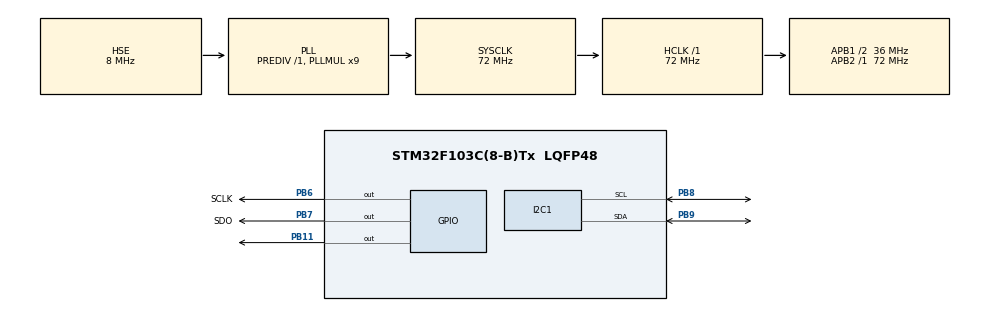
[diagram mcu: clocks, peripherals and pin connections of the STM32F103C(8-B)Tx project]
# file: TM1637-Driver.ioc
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Mcu.Family=STM32F1
Mcu.Name=STM32F103C(8-B)Tx
Mcu.Package=LQFP48
NVIC.PriorityGroup=NVIC_PRIORITYGROUP_4
PA13.Mode=Serial_Wire
PA13.Signal=SYS_JTMS-SWDIO
PA14.Mode=Serial_Wire
PA14.Signal=SYS_JTCK-SWCLK
PB11.Signal=GPIO_Output
PB6.GPIO_Label=SCLK
PB6.Signal=GPIO_Output
PB7.GPIO_Label=SDO
PB7.Signal=GPIO_Output
PB8.Mode=I2C
PB8.Signal=I2C1_SCL
PB9.Mode=I2C
PB9.Signal=I2C1_SDA
PD0-OSC_IN.Mode=HSE-External-Oscillator
PD0-OSC_IN.Signal=RCC_OSC_IN
PD1-OSC_OUT.Mode=HSE-External-Oscillator
PD1-OSC_OUT.Signal=RCC_OSC_OUT
ProjectManager.HeapSize=0x200
ProjectManager.StackSize=0x400
ProjectManager.TargetToolchain=STM32CubeIDE
RCC.AHBFreq_Value=72000000
RCC.APB1CLKDivider=RCC_HCLK_DIV2
RCC.APB1Freq_Value=36000000
RCC.APB1TimFreq_Value=72000000
RCC.APB2Freq_Value=72000000
RCC.APB2TimFreq_Value=72000000
RCC.HCLKFreq_Value=72000000
RCC.PLLMUL=RCC_PLL_MUL9
RCC.PLLSourceVirtual=RCC_PLLSOURCE_HSE
RCC.SYSCLKFreq_VALUE=72000000
RCC.SYSCLKSource=RCC_SYSCLKSOURCE_PLLCLK
RCC.USBFreq_Value=72000000
board=custom

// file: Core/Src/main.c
/* USER CODE BEGIN Header */
/**
  *****************************************************************************
  * @file           : main.c
  * @brief          : Main program body
  ******************************************************************************
  * @attention
  *
  * <h2><center>&copy; Copyright (c) 2020 STMicroelectronics.
  * All rights reserved.</center></h2>
  *
  * This software component is licensed by ST under BSD 3-Clause license,
  * the "License"; You may not use this file except in compliance with the
  * License. You may obtain a copy of the License at:
  *                        opensource.org/licenses/BSD-3-Clause
  *
  ******************************************************************************
  */
/* USER CODE END Header */
#include "main.h"

/* USER CODE BEGIN Includes */
#include "tm1637.h"

#include "macro_types.h"
#include "stm32f1xx_hal.h"
#include "stm32f1_uart.h"
#include "stm32f1_sys.h"
#include "stm32f1_gpio.h"
#include "systick.h"
#include "stm32f1_timer.h"

#include "config.h"
/* USER CODE END Includes */

/* USER CODE BEGIN PTD */
////////////////////////////////////a mettre dans le config.h quand librairies OK

////////////////////////////////////fin a mettre

/* USER CODE END PTD */

I2C_HandleTypeDef hi2c1;

void SystemClock_Config(void);
static void MX_GPIO_Init(void);
static void MX_I2C1_Init(void);

/* USER CODE BEGIN 0 */
uint8_t	Timer1Enable = ENABLE;
uint32_t Timer1  = 0;
uint8_t CurrentDisplay[4] = {0};
uint8_t tm1637_Segments[8] = {0};
/* USER CODE END 0 */

int main(void)
{
  /* USER CODE BEGIN 1 */
  //DP is connected to the second digit MSB
  tm1637_Segments[0] = A_SEG;
  tm1637_Segments[1] = B_SEG;
  tm1637_Segments[2] = C_SEG;
  tm1637_Segments[3] = D_SEG;
  tm1637_Segments[4] = E_SEG;
  tm1637_Segments[5] = F_SEG;
  tm1637_Segments[6] = G_SEG;
  tm1637_Segments[7] = DP_SEG;
  /* USER CODE END 1 */

  /* MCU Configuration--------------------------------------------------------*/

  /* Reset of all peripherals, Initializes the Flash interface and the Systick. */
  HAL_Init();

  /* Configure the system clock */
  SystemClock_Config();

  /* Initialize all configured peripherals */
  MX_GPIO_Init();
  MX_I2C1_Init();
  /* USER CODE BEGIN 2 */
  HAL_GPIO_WritePin(SCLK_GPIO_Port, SCLK_Pin, GPIO_PIN_SET);
  HAL_GPIO_WritePin(SDO_GPIO_Port, SDO_Pin, GPIO_PIN_SET);

  tm1637_DisplayHandle(4, CurrentDisplay);						//

  Timer1Enable = ENABLE;										//Turn on systick based timer
  /* USER CODE END 2 */

  uint8_t texte[] = "1603"; //ex txt 16h03
  for(uint8_t i=0; i<4;i++){
	  texte[i] = char2segments(texte[i]);
  }

  enum etats{
	  CLOCK,
	  TIMER,
	  RAZ,
	  PARAM_TIMER,
	  PARAM_CLOCK
  };

  //initialisation
  enum etats etat=CLOCK;
  enum etats nominal = CLOCK;

  //init moteur
  BSP_GPIO_PinCfg(GPIO_MOTEUR, PIN_1_MOTEUR, GPIO_MODE_OUTPUT_PP,GPIO_NOPULL,GPIO_SPEED_FREQ_HIGH);
  BSP_GPIO_PinCfg(GPIO_MOTEUR, PIN_2_MOTEUR, GPIO_MODE_OUTPUT_PP,GPIO_NOPULL,GPIO_SPEED_FREQ_HIGH);
  BSP_GPIO_PinCfg(GPIO_MOTEUR, PIN_3_MOTEUR, GPIO_MODE_OUTPUT_PP,GPIO_NOPULL,GPIO_SPEED_FREQ_HIGH);
  BSP_GPIO_PinCfg(GPIO_MOTEUR, PIN_4_MOTEUR, GPIO_MODE_OUTPUT_PP,GPIO_NOPULL,GPIO_SPEED_FREQ_HIGH);

  bool_e seq[8][4] = {
  		  {  LOW, HIGH, HIGH,  LOW},
  		  {  LOW,  LOW, HIGH,  LOW},
  		  {  LOW,  LOW, HIGH, HIGH},
  		  {  LOW,  LOW,  LOW, HIGH},
  		  { HIGH,  LOW,  LOW, HIGH},
  		  { HIGH,  LOW,  LOW,  LOW},
  		  { HIGH, HIGH,  LOW,  LOW},
  		  {  LOW, HIGH,  LOW,  LOW}
  		};
  uint16_t port[4] = {PIN_0, PIN_1, PIN_11, PIN_12};
  //fin init moteur

  BSP_GPIO_PinCfg(BLUE_BUTTON_GPIO, BLUE_BUTTON_PIN, GPIO_MODE_INPUT,GPIO_PULLUP,GPIO_SPEED_FREQ_HIGH);

  //Autorise la demande d'interruption correspondante à interrompre le processeur
  NVIC_EnableIRQ(EXTI15_10_IRQn);

  while (1){
	  switch(etat){
	  	 	 case CLOCK:
	  	 		 //tourne horloge
	  	 		 break;
	  	 	 case TIMER:
	  	 		 //tourne horloge du timer
	  	 		 break;
	  	 	 case RAZ:
	  	 		 //remise a 0h00 (ou remettre a xhxx?)
	  	 		 break;
	  	 	case PARAM_TIMER:
	  	 	     // activé avec interruption
	  	 	     //code parametrer le timer (avec pot pour régler valeur, btn 1 pour passer heure->minute, et btn 2 pour valider (affichage avec afficheur numérique))
	  	 		 param(0);
	  	 		 etat = RAZ;
	  	 	     break;
	  	 	case PARAM_CLOCK:
	  	 	     param(1);
	  	 	     etat = TIMER;
	  	 	     break;
	  	 }
  }

}

uint32_t param(bool_e clock){
	uint8_t minutes  = 0;
	uint8_t secondes = 0;
	bool_e fini = 0;
	bool_e min_sec = 0;		//= 0 <==> minutes 	/ = 1 <==> secondes

	bool_e bouton_d = readButton_D();
	bool_e ancien_bouton_d = bouton_d;
	bool_e bouton_g = readButton_G();
	bool_e ancien_bouton_g = bouton_d;

	while(!fini){
		if(!min_sec){//selection minutes
			minutes = lecture_pot(0);
			bouton_g = readButton_G();
			if(bouton_g != ancien_bouton_g && bouton_g==1){	//si on appuie sur le bouton gauche
				min_sec = 1;
				ancien_bouton_g = bouton_g;
			}
		}
		else{
			secondes = lecture_pot(0);
			if(bouton_g != ancien_bouton_g && bouton_g==1){	//si on appuie sur le bouton gauche
				min_sec = 0;
				ancien_bouton_g = bouton_g;
			}
		}
		if(bouton_d != ancien_bouton_d && bouton_d==1){	//si on appuie sur le bouton droit
			fini = 1;
		}

		ancien_bouton_g = bouton_g;
		ancien_bouton_d = bouton_d;

		//affichage selection minutes et secondes
		affiche_digit(minutes, secondes);

	}
	uint32_t ms=0;
	if(clock){		//si parametre horloge : heures + minutes
		ms = ((minutes*60*60) + (secondes*60))*1000;
	}
	else{			//sinon timer = minutes + secondes
		ms = ((minutes*60)+secondes)*1000;
	}
	return ms;		//retourne le nb de ms à mettre à l'horloge
}

void affiche_digit(uint8_t x, uint8_t y){
	uint8_t texte[] = concatenate(x, y);	//TODO texte[] = "1603" pour 16h03
	for(uint8_t i=0; i<4;i++){
		texte[i] = char2segments(texte[i]);
	}
	tm1637_DisplayHandle(7, texte);
}

unsigned concatenate(unsigned x, unsigned y) {
    unsigned pow = 10;
    while(y >= pow)
        pow *= 10;
    return x * pow + y;
}

//lit bouton bleu
bool_e readButton_G(void){
	return HAL_GPIO_ReadPin(BLUE_BUTTON_GPIO, BLUE_BUTTON_PIN);//TODO changer en bouton gauche
}

//TODO ajouter bouton droite en lecture

uint8_t lecture_pot(bool_e vq){
	//TODO retourne valeur potentiomètre avec max 60 si vq=0 et max 24 si vq=1 (vq = 24)
	return 0;
}

//Routine d'interruption
//Cette fonction ne doit pas être appelée par l'utilisateur, elle le sera automatiquement par le processeur.
void EXTI15_10_IRQHandler(){
	//Acquittement du flag d'interruption
	__HAL_GPIO_EXTI_CLEAR_IT(BLUE_BUTTON_PIN);
	//code de l'utilisateur :

}

void SystemClock_Config(void)
{
  RCC_OscInitTypeDef RCC_OscInitStruct = {0};
  RCC_ClkInitTypeDef RCC_ClkInitStruct = {0};

  /** Initializes the RCC Oscillators according to the specified parameters
  * in the RCC_OscInitTypeDef structure.
  */
  RCC_OscInitStruct.OscillatorType = RCC_OSCILLATORTYPE_HSE;
  RCC_OscInitStruct.HSEState = RCC_HSE_ON;
  RCC_OscInitStruct.HSEPredivValue = RCC_HSE_PREDIV_DIV1;
  RCC_OscInitStruct.HSIState = RCC_HSI_ON;
  RCC_OscInitStruct.PLL.PLLState = RCC_PLL_ON;
  RCC_OscInitStruct.PLL.PLLSource = RCC_PLLSOURCE_HSE;
  RCC_OscInitStruct.PLL.PLLMUL = RCC_PLL_MUL9;
  if (HAL_RCC_OscConfig(&RCC_OscInitStruct) != HAL_OK)
  {
    Error_Handler();
  }
  /** Initializes the CPU, AHB and APB buses clocks
  */
  RCC_ClkInitStruct.ClockType = RCC_CLOCKTYPE_HCLK|RCC_CLOCKTYPE_SYSCLK
                              |RCC_CLOCKTYPE_PCLK1|RCC_CLOCKTYPE_PCLK2;
  RCC_ClkInitStruct.SYSCLKSource = RCC_SYSCLKSOURCE_PLLCLK;
  RCC_ClkInitStruct.AHBCLKDivider = RCC_SYSCLK_DIV1;
  RCC_ClkInitStruct.APB1CLKDivider = RCC_HCLK_DIV2;
  RCC_ClkInitStruct.APB2CLKDivider = RCC_HCLK_DIV1;

  if (HAL_RCC_ClockConfig(&RCC_ClkInitStruct, FLASH_LATENCY_2) != HAL_OK)
  {
    Error_Handler();
  }
}

static void MX_I2C1_Init(void)
{

  hi2c1.Instance = I2C1;
  hi2c1.Init.ClockSpeed = 100000;
  hi2c1.Init.DutyCycle = I2C_DUTYCYCLE_2;
  hi2c1.Init.OwnAddress1 = 0;
  hi2c1.Init.AddressingMode = I2C_ADDRESSINGMODE_7BIT;
  hi2c1.Init.DualAddressMode = I2C_DUALADDRESS_DISABLE;
  hi2c1.Init.OwnAddress2 = 0;
  hi2c1.Init.GeneralCallMode = I2C_GENERALCALL_DISABLE;
  hi2c1.Init.NoStretchMode = I2C_NOSTRETCH_DISABLE;
  if (HAL_I2C_Init(&hi2c1) != HAL_OK)
  {
    Error_Handler();
  }

}

static void MX_GPIO_Init(void)
{
  GPIO_InitTypeDef GPIO_InitStruct = {0};

  /* GPIO Ports Clock Enable */
  __HAL_RCC_GPIOD_CLK_ENABLE();
  __HAL_RCC_GPIOB_CLK_ENABLE();
  __HAL_RCC_GPIOA_CLK_ENABLE();

  /*Configure GPIO pin Output Level */
  HAL_GPIO_WritePin(GPIOB, GPIO_PIN_11|SCLK_Pin|SDO_Pin, GPIO_PIN_SET);

  /*Configure GPIO pins : PB11 SCLK_Pin SDO_Pin */
  GPIO_InitStruct.Pin = GPIO_PIN_11|SCLK_Pin|SDO_Pin;
  GPIO_InitStruct.Mode = GPIO_MODE_OUTPUT_PP;
  GPIO_InitStruct.Pull = GPIO_NOPULL;
  GPIO_InitStruct.Speed = GPIO_SPEED_FREQ_LOW;
  HAL_GPIO_Init(GPIOB, &GPIO_InitStruct);

}

void Error_Handler(void)
{
}

/************************ (C) COPYRIGHT STMicroelectronics *****END OF FILE****/
